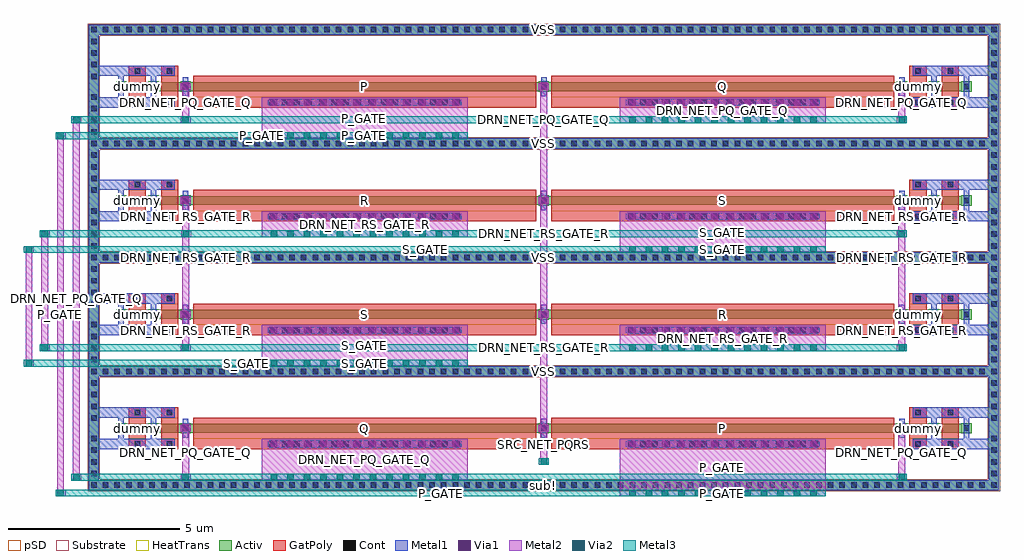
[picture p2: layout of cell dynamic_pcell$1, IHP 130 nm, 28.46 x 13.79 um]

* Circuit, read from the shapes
.subckt dynamic_pcell$1 DRN_NET_PQ_GATE_Q DRN_NET_RS_GATE_R P_GATE SRC_NET_PQRS S_GATE VSS
XM1 VSS VSS VSS VSS sg13_lv_nmos w=0.26u l=0.5u m=8
XM2 DRN_NET_PQ_GATE_Q VSS VSS VSS sg13_lv_nmos w=0.26u l=0.5u m=4
XM3 DRN_NET_RS_GATE_R VSS VSS VSS sg13_lv_nmos w=0.26u l=0.5u m=4
XM4 SRC_NET_PQRS DRN_NET_PQ_GATE_Q DRN_NET_PQ_GATE_Q VSS sg13_lv_nmos w=0.26u l=10u m=2
XM5 SRC_NET_PQRS S_GATE DRN_NET_RS_GATE_R VSS sg13_lv_nmos w=0.26u l=10u m=2
XM6 SRC_NET_PQRS DRN_NET_RS_GATE_R DRN_NET_RS_GATE_R VSS sg13_lv_nmos w=0.26u l=10u m=2
XM7 SRC_NET_PQRS P_GATE DRN_NET_PQ_GATE_Q VSS sg13_lv_nmos w=0.26u l=10u m=2
.ends

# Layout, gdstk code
import gdstk
lib = gdstk.Library(unit=1e-6, precision=1e-09)
def R(c, l, rs):  # rectangles x0, y0, x1, y1
    for r in rs: c.add(gdstk.rectangle(r[:2], r[2:], *l))
def A(c, l, x, y, w, h, nx, ny, dx, dy):  # array of equal rectangles
    R(c, l, [(x+i*dx, y+j*dy, x+i*dx+w, y+j*dy+h) for i in range(nx) for j in range(ny)])
def P(c, l, *ps):  # polygons
    for p in ps: c.add(gdstk.Polygon(p, *l))
Activ = (1, 0)
GatPoly = (5, 0)
Cont = (6, 0)
Metal1 = (8, 0)
Metal2 = (10, 0)
pSD = (14, 0)
Via1 = (19, 0)
Via2 = (29, 0)
Metal3 = (30, 0)
Substrate = (40, 0)
HeatTrans = (51, 0)

dynamic_pcell_1 = lib.new_cell('dynamic_pcell$1')
A(dynamic_pcell_1, Activ, -0.8, -16.32, 26.54, 0.3, 1, 4, 0, 3.32)
A(dynamic_pcell_1, Activ, -0.8, -16.02, 0.3, 3.02, 1, 4, 0, 3.32)
A(dynamic_pcell_1, Activ, 25.44, -16.02, 0.3, 3.02, 1, 4, 0, 3.32)
A(dynamic_pcell_1, Activ, 0, -14.66, 0.3, 0.3, 3, 4, 0.94, 3.32)
A(dynamic_pcell_1, Activ, 1.88, -14.66, 0.3, 0.3, 1, 4, 0, 3.32)
A(dynamic_pcell_1, Activ, 22.76, -14.66, 0.3, 0.3, 1, 4, 0, 3.32)
A(dynamic_pcell_1, Activ, 22.76, -14.66, 0.3, 0.3, 3, 4, 0.94, 3.32)
A(dynamic_pcell_1, Activ, 0, -14.64, 2.18, 0.26, 1, 4, 0, 3.32)
A(dynamic_pcell_1, Activ, 1.88, -14.64, 10.74, 0.26, 1, 4, 0, 3.32)
A(dynamic_pcell_1, Activ, 12.32, -14.64, 10.74, 0.26, 1, 4, 0, 3.32)
A(dynamic_pcell_1, Activ, 22.76, -14.64, 2.18, 0.26, 1, 4, 0, 3.32)
R(dynamic_pcell_1, Activ, [(12.32,-14.66,12.62,-14.36), (12.32,-14.66,12.62,-14.36), (12.32,-11.34,12.62,-11.04), (12.32,-11.34,12.62,-11.04), (12.32,-8.02,12.62,-7.72), (12.32,-8.02,12.62,-7.72), (12.32,-4.7,12.62,-4.4), (12.32,-4.7,12.62,-4.4)])
P(dynamic_pcell_1, Activ, [(-0.8,-6.36),(-0.8,-3.04),(-0.5,-3.04),(-0.5,-6.06),(25.44,-6.06),(25.44,-3.04),(-0.8,-3.04),(-0.8,-2.74),(25.74,-2.74),(25.74,-6.36)],
  [(-0.8,-9.68),(-0.8,-6.36),(-0.5,-6.36),(-0.5,-9.38),(25.44,-9.38),(25.44,-6.36),(-0.8,-6.36),(-0.8,-6.06),(25.74,-6.06),(25.74,-9.68)],
  [(-0.8,-13),(-0.8,-9.68),(-0.5,-9.68),(-0.5,-12.7),(25.44,-12.7),(25.44,-9.68),(-0.8,-9.68),(-0.8,-9.38),(25.74,-9.38),(25.74,-13)],
  [(-0.8,-16.32),(-0.8,-13),(-0.5,-13),(-0.5,-16.02),(25.44,-16.02),(25.44,-13),(-0.8,-13),(-0.8,-12.7),(25.74,-12.7),(25.74,-16.32)])
A(dynamic_pcell_1, GatPoly, 2.25, -15.12, 10, 0.3, 1, 4, 0, 3.32)
A(dynamic_pcell_1, GatPoly, 4.25, -15.12, 6, 0.3, 1, 4, 0, 3.32)
A(dynamic_pcell_1, GatPoly, 12.69, -15.12, 10, 0.3, 1, 4, 0, 3.32)
A(dynamic_pcell_1, GatPoly, 14.69, -15.12, 6, 0.3, 1, 4, 0, 3.32)
A(dynamic_pcell_1, GatPoly, 0.37, -14.82, 0.5, 0.62, 1, 4, 0, 3.32)
A(dynamic_pcell_1, GatPoly, 1.31, -14.82, 0.5, 0.62, 1, 4, 0, 3.32)
A(dynamic_pcell_1, GatPoly, 2.25, -14.82, 10, 0.62, 1, 4, 0, 3.32)
A(dynamic_pcell_1, GatPoly, 12.69, -14.82, 10, 0.62, 1, 4, 0, 3.32)
A(dynamic_pcell_1, GatPoly, 23.13, -14.82, 0.5, 0.62, 1, 4, 0, 3.32)
A(dynamic_pcell_1, GatPoly, 24.07, -14.82, 0.5, 0.62, 1, 4, 0, 3.32)
R(dynamic_pcell_1, GatPoly, [(0.37,-15.12,0.87,-14.82), (0.47,-15.12,0.77,-14.82), (1.31,-15.12,1.81,-14.82), (1.41,-15.12,1.71,-14.82), (23.13,-15.12,23.63,-14.82), (23.23,-15.12,23.53,-14.82), (24.07,-15.12,24.57,-14.82), (24.17,-15.12,24.47,-14.82), (0.37,-14.2,0.87,-13.9), (0.47,-14.2,0.77,-13.9), (1.31,-14.2,1.81,-13.9), (1.41,-14.2,1.71,-13.9), (23.13,-14.2,23.63,-13.9), (23.23,-14.2,23.53,-13.9), (24.07,-14.2,24.57,-13.9), (24.17,-14.2,24.47,-13.9), (0.37,-11.8,0.87,-11.5), (0.47,-11.8,0.77,-11.5), (1.31,-11.8,1.81,-11.5), (1.41,-11.8,1.71,-11.5), (23.13,-11.8,23.63,-11.5), (23.23,-11.8,23.53,-11.5), (24.07,-11.8,24.57,-11.5), (24.17,-11.8,24.47,-11.5), (0.37,-10.88,0.87,-10.58), (0.47,-10.88,0.77,-10.58), (1.31,-10.88,1.81,-10.58), (1.41,-10.88,1.71,-10.58), (23.13,-10.88,23.63,-10.58), (23.23,-10.88,23.53,-10.58), (24.07,-10.88,24.57,-10.58), (24.17,-10.88,24.47,-10.58), (0.37,-8.48,0.87,-8.18), (0.47,-8.48,0.77,-8.18), (1.31,-8.48,1.81,-8.18), (1.41,-8.48,1.71,-8.18), (23.13,-8.48,23.63,-8.18), (23.23,-8.48,23.53,-8.18), (24.07,-8.48,24.57,-8.18), (24.17,-8.48,24.47,-8.18), (0.37,-7.56,0.87,-7.26), (0.47,-7.56,0.77,-7.26), (1.31,-7.56,1.81,-7.26), (1.41,-7.56,1.71,-7.26), (23.13,-7.56,23.63,-7.26), (23.23,-7.56,23.53,-7.26), (24.07,-7.56,24.57,-7.26), (24.17,-7.56,24.47,-7.26), (0.37,-5.16,0.87,-4.86), (0.47,-5.16,0.77,-4.86), (1.31,-5.16,1.81,-4.86), (1.41,-5.16,1.71,-4.86), (23.13,-5.16,23.63,-4.86), (23.23,-5.16,23.53,-4.86), (24.07,-5.16,24.57,-4.86), (24.17,-5.16,24.47,-4.86), (0.37,-4.24,0.87,-3.94), (0.47,-4.24,0.77,-3.94), (1.31,-4.24,1.81,-3.94), (1.41,-4.24,1.71,-3.94), (23.13,-4.24,23.63,-3.94), (23.23,-4.24,23.53,-3.94), (24.07,-4.24,24.57,-3.94), (24.17,-4.24,24.47,-3.94)])
A(dynamic_pcell_1, Cont, -0.73, -16.25, 0.16, 0.16, 39, 2, 0.34, 13.28)
A(dynamic_pcell_1, Cont, 12.59, -16.25, 0.16, 0.16, 39, 2, 0.34, 13.28)
A(dynamic_pcell_1, Cont, -0.73, -15.91, 0.16, 0.16, 1, 4, 0, 0.34)
A(dynamic_pcell_1, Cont, 25.51, -15.91, 0.16, 0.16, 1, 4, 0, 0.34)
A(dynamic_pcell_1, Cont, 4.47, -15.05, 0.16, 0.16, 16, 4, 0.36, 3.32)
A(dynamic_pcell_1, Cont, 14.91, -15.05, 0.16, 0.16, 16, 4, 0.36, 3.32)
A(dynamic_pcell_1, Cont, 0.07, -14.59, 0.16, 0.16, 3, 4, 0.94, 3.32)
A(dynamic_pcell_1, Cont, 1.95, -14.59, 0.16, 0.16, 1, 4, 0, 3.32)
A(dynamic_pcell_1, Cont, 22.83, -14.59, 0.16, 0.16, 1, 4, 0, 3.32)
A(dynamic_pcell_1, Cont, 22.83, -14.59, 0.16, 0.16, 3, 4, 0.94, 3.32)
A(dynamic_pcell_1, Cont, -0.73, -14.29, 0.16, 0.16, 1, 5, 0, 0.34)
A(dynamic_pcell_1, Cont, 25.51, -14.29, 0.16, 0.16, 1, 5, 0, 0.34)
A(dynamic_pcell_1, Cont, -0.73, -12.93, 0.16, 0.16, 1, 5, 0, 0.34)
A(dynamic_pcell_1, Cont, 25.51, -12.93, 0.16, 0.16, 1, 5, 0, 0.34)
A(dynamic_pcell_1, Cont, -0.73, -10.97, 0.16, 0.16, 1, 5, 0, 0.34)
A(dynamic_pcell_1, Cont, 25.51, -10.97, 0.16, 0.16, 1, 5, 0, 0.34)
A(dynamic_pcell_1, Cont, -0.73, -9.61, 0.16, 0.16, 1, 5, 0, 0.34)
A(dynamic_pcell_1, Cont, 25.51, -9.61, 0.16, 0.16, 1, 5, 0, 0.34)
A(dynamic_pcell_1, Cont, -0.73, -7.65, 0.16, 0.16, 1, 5, 0, 0.34)
A(dynamic_pcell_1, Cont, 25.51, -7.65, 0.16, 0.16, 1, 5, 0, 0.34)
A(dynamic_pcell_1, Cont, -0.73, -6.29, 0.16, 0.16, 1, 5, 0, 0.34)
A(dynamic_pcell_1, Cont, 25.51, -6.29, 0.16, 0.16, 1, 5, 0, 0.34)
A(dynamic_pcell_1, Cont, -0.73, -4.33, 0.16, 0.16, 1, 4, 0, 0.34)
A(dynamic_pcell_1, Cont, 25.51, -4.33, 0.16, 0.16, 1, 4, 0, 0.34)
R(dynamic_pcell_1, Cont, [(0.54,-15.05,0.7,-14.89), (1.48,-15.05,1.64,-14.89), (23.3,-15.05,23.46,-14.89), (24.24,-15.05,24.4,-14.89), (12.39,-14.59,12.55,-14.43), (12.39,-14.59,12.55,-14.43), (0.54,-14.13,0.7,-13.97), (1.48,-14.13,1.64,-13.97), (23.3,-14.13,23.46,-13.97), (24.24,-14.13,24.4,-13.97), (-0.39,-12.93,-0.23,-12.77), (-0.39,-12.93,-0.23,-12.77), (-0.05,-12.93,0.11,-12.77), (-0.05,-12.93,0.11,-12.77), (0.29,-12.93,0.45,-12.77), (0.29,-12.93,0.45,-12.77), (0.63,-12.93,0.79,-12.77), (0.63,-12.93,0.79,-12.77), (0.97,-12.93,1.13,-12.77), (0.97,-12.93,1.13,-12.77), (1.31,-12.93,1.47,-12.77), (1.31,-12.93,1.47,-12.77), (1.65,-12.93,1.81,-12.77), (1.65,-12.93,1.81,-12.77), (1.99,-12.93,2.15,-12.77), (1.99,-12.93,2.15,-12.77), (2.33,-12.93,2.49,-12.77), (2.33,-12.93,2.49,-12.77), (2.67,-12.93,2.83,-12.77), (2.67,-12.93,2.83,-12.77), (3.01,-12.93,3.17,-12.77), (3.01,-12.93,3.17,-12.77), (3.35,-12.93,3.51,-12.77), (3.35,-12.93,3.51,-12.77), (3.69,-12.93,3.85,-12.77), (3.69,-12.93,3.85,-12.77), (4.03,-12.93,4.19,-12.77), (4.03,-12.93,4.19,-12.77), (4.37,-12.93,4.53,-12.77), (4.37,-12.93,4.53,-12.77), (4.71,-12.93,4.87,-12.77), (4.71,-12.93,4.87,-12.77), (5.05,-12.93,5.21,-12.77), (5.05,-12.93,5.21,-12.77), (5.39,-12.93,5.55,-12.77), (5.39,-12.93,5.55,-12.77), (5.73,-12.93,5.89,-12.77), (5.73,-12.93,5.89,-12.77), (6.07,-12.93,6.23,-12.77), (6.07,-12.93,6.23,-12.77), (6.41,-12.93,6.57,-12.77), (6.41,-12.93,6.57,-12.77), (6.75,-12.93,6.91,-12.77), (6.75,-12.93,6.91,-12.77), (7.09,-12.93,7.25,-12.77), (7.09,-12.93,7.25,-12.77), (7.43,-12.93,7.59,-12.77), (7.43,-12.93,7.59,-12.77), (7.77,-12.93,7.93,-12.77), (7.77,-12.93,7.93,-12.77), (8.11,-12.93,8.27,-12.77), (8.11,-12.93,8.27,-12.77), (8.45,-12.93,8.61,-12.77), (8.45,-12.93,8.61,-12.77), (8.79,-12.93,8.95,-12.77), (8.79,-12.93,8.95,-12.77), (9.13,-12.93,9.29,-12.77), (9.13,-12.93,9.29,-12.77), (9.47,-12.93,9.63,-12.77), (9.47,-12.93,9.63,-12.77), (9.81,-12.93,9.97,-12.77), (9.81,-12.93,9.97,-12.77), (10.15,-12.93,10.31,-12.77), (10.15,-12.93,10.31,-12.77), (10.49,-12.93,10.65,-12.77), (10.49,-12.93,10.65,-12.77), (10.83,-12.93,10.99,-12.77), (10.83,-12.93,10.99,-12.77), (11.17,-12.93,11.33,-12.77), (11.17,-12.93,11.33,-12.77), (11.51,-12.93,11.67,-12.77), (11.51,-12.93,11.67,-12.77), (11.85,-12.93,12.01,-12.77), (11.85,-12.93,12.01,-12.77), (12.19,-12.93,12.35,-12.77), (12.19,-12.93,12.35,-12.77), (12.59,-12.93,12.75,-12.77), (12.59,-12.93,12.75,-12.77), (12.93,-12.93,13.09,-12.77), (12.93,-12.93,13.09,-12.77), (13.27,-12.93,13.43,-12.77), (13.27,-12.93,13.43,-12.77), (13.61,-12.93,13.77,-12.77), (13.61,-12.93,13.77,-12.77), (13.95,-12.93,14.11,-12.77), (13.95,-12.93,14.11,-12.77), (14.29,-12.93,14.45,-12.77), (14.29,-12.93,14.45,-12.77), (14.63,-12.93,14.79,-12.77), (14.63,-12.93,14.79,-12.77), (14.97,-12.93,15.13,-12.77), (14.97,-12.93,15.13,-12.77), (15.31,-12.93,15.47,-12.77), (15.31,-12.93,15.47,-12.77), (15.65,-12.93,15.81,-12.77), (15.65,-12.93,15.81,-12.77), (15.99,-12.93,16.15,-12.77), (15.99,-12.93,16.15,-12.77), (16.33,-12.93,16.49,-12.77), (16.33,-12.93,16.49,-12.77), (16.67,-12.93,16.83,-12.77), (16.67,-12.93,16.83,-12.77), (17.01,-12.93,17.17,-12.77), (17.01,-12.93,17.17,-12.77), (17.35,-12.93,17.51,-12.77), (17.35,-12.93,17.51,-12.77), (17.69,-12.93,17.85,-12.77), (17.69,-12.93,17.85,-12.77), (18.03,-12.93,18.19,-12.77), (18.03,-12.93,18.19,-12.77), (18.37,-12.93,18.53,-12.77), (18.37,-12.93,18.53,-12.77), (18.71,-12.93,18.87,-12.77), (18.71,-12.93,18.87,-12.77), (19.05,-12.93,19.21,-12.77), (19.05,-12.93,19.21,-12.77), (19.39,-12.93,19.55,-12.77), (19.39,-12.93,19.55,-12.77), (19.73,-12.93,19.89,-12.77), (19.73,-12.93,19.89,-12.77), (20.07,-12.93,20.23,-12.77), (20.07,-12.93,20.23,-12.77), (20.41,-12.93,20.57,-12.77), (20.41,-12.93,20.57,-12.77), (20.75,-12.93,20.91,-12.77), (20.75,-12.93,20.91,-12.77), (21.09,-12.93,21.25,-12.77), (21.09,-12.93,21.25,-12.77), (21.43,-12.93,21.59,-12.77), (21.43,-12.93,21.59,-12.77), (21.77,-12.93,21.93,-12.77), (21.77,-12.93,21.93,-12.77), (22.11,-12.93,22.27,-12.77), (22.11,-12.93,22.27,-12.77), (22.45,-12.93,22.61,-12.77), (22.45,-12.93,22.61,-12.77), (22.79,-12.93,22.95,-12.77), (22.79,-12.93,22.95,-12.77), (23.13,-12.93,23.29,-12.77), (23.13,-12.93,23.29,-12.77), (23.47,-12.93,23.63,-12.77), (23.47,-12.93,23.63,-12.77), (23.81,-12.93,23.97,-12.77), (23.81,-12.93,23.97,-12.77), (24.15,-12.93,24.31,-12.77), (24.15,-12.93,24.31,-12.77), (24.49,-12.93,24.65,-12.77), (24.49,-12.93,24.65,-12.77), (24.83,-12.93,24.99,-12.77), (24.83,-12.93,24.99,-12.77), (25.17,-12.93,25.33,-12.77), (25.17,-12.93,25.33,-12.77), (0.54,-11.73,0.7,-11.57), (1.48,-11.73,1.64,-11.57), (23.3,-11.73,23.46,-11.57), (24.24,-11.73,24.4,-11.57), (12.39,-11.27,12.55,-11.11), (12.39,-11.27,12.55,-11.11), (0.54,-10.81,0.7,-10.65), (1.48,-10.81,1.64,-10.65), (23.3,-10.81,23.46,-10.65), (24.24,-10.81,24.4,-10.65), (-0.39,-9.61,-0.23,-9.45), (-0.39,-9.61,-0.23,-9.45), (-0.05,-9.61,0.11,-9.45), (-0.05,-9.61,0.11,-9.45), (0.29,-9.61,0.45,-9.45), (0.29,-9.61,0.45,-9.45), (0.63,-9.61,0.79,-9.45), (0.63,-9.61,0.79,-9.45), (0.97,-9.61,1.13,-9.45), (0.97,-9.61,1.13,-9.45), (1.31,-9.61,1.47,-9.45), (1.31,-9.61,1.47,-9.45), (1.65,-9.61,1.81,-9.45), (1.65,-9.61,1.81,-9.45), (1.99,-9.61,2.15,-9.45), (1.99,-9.61,2.15,-9.45), (2.33,-9.61,2.49,-9.45), (2.33,-9.61,2.49,-9.45), (2.67,-9.61,2.83,-9.45), (2.67,-9.61,2.83,-9.45), (3.01,-9.61,3.17,-9.45), (3.01,-9.61,3.17,-9.45), (3.35,-9.61,3.51,-9.45), (3.35,-9.61,3.51,-9.45), (3.69,-9.61,3.85,-9.45), (3.69,-9.61,3.85,-9.45), (4.03,-9.61,4.19,-9.45), (4.03,-9.61,4.19,-9.45), (4.37,-9.61,4.53,-9.45), (4.37,-9.61,4.53,-9.45), (4.71,-9.61,4.87,-9.45), (4.71,-9.61,4.87,-9.45), (5.05,-9.61,5.21,-9.45), (5.05,-9.61,5.21,-9.45), (5.39,-9.61,5.55,-9.45), (5.39,-9.61,5.55,-9.45), (5.73,-9.61,5.89,-9.45), (5.73,-9.61,5.89,-9.45), (6.07,-9.61,6.23,-9.45), (6.07,-9.61,6.23,-9.45), (6.41,-9.61,6.57,-9.45), (6.41,-9.61,6.57,-9.45), (6.75,-9.61,6.91,-9.45), (6.75,-9.61,6.91,-9.45), (7.09,-9.61,7.25,-9.45), (7.09,-9.61,7.25,-9.45), (7.43,-9.61,7.59,-9.45), (7.43,-9.61,7.59,-9.45), (7.77,-9.61,7.93,-9.45), (7.77,-9.61,7.93,-9.45), (8.11,-9.61,8.27,-9.45), (8.11,-9.61,8.27,-9.45), (8.45,-9.61,8.61,-9.45), (8.45,-9.61,8.61,-9.45), (8.79,-9.61,8.95,-9.45), (8.79,-9.61,8.95,-9.45), (9.13,-9.61,9.29,-9.45), (9.13,-9.61,9.29,-9.45), (9.47,-9.61,9.63,-9.45), (9.47,-9.61,9.63,-9.45), (9.81,-9.61,9.97,-9.45), (9.81,-9.61,9.97,-9.45), (10.15,-9.61,10.31,-9.45), (10.15,-9.61,10.31,-9.45), (10.49,-9.61,10.65,-9.45), (10.49,-9.61,10.65,-9.45), (10.83,-9.61,10.99,-9.45), (10.83,-9.61,10.99,-9.45), (11.17,-9.61,11.33,-9.45), (11.17,-9.61,11.33,-9.45), (11.51,-9.61,11.67,-9.45), (11.51,-9.61,11.67,-9.45), (11.85,-9.61,12.01,-9.45), (11.85,-9.61,12.01,-9.45), (12.19,-9.61,12.35,-9.45), (12.19,-9.61,12.35,-9.45), (12.59,-9.61,12.75,-9.45), (12.59,-9.61,12.75,-9.45), (12.93,-9.61,13.09,-9.45), (12.93,-9.61,13.09,-9.45), (13.27,-9.61,13.43,-9.45), (13.27,-9.61,13.43,-9.45), (13.61,-9.61,13.77,-9.45), (13.61,-9.61,13.77,-9.45), (13.95,-9.61,14.11,-9.45), (13.95,-9.61,14.11,-9.45), (14.29,-9.61,14.45,-9.45), (14.29,-9.61,14.45,-9.45), (14.63,-9.61,14.79,-9.45), (14.63,-9.61,14.79,-9.45), (14.97,-9.61,15.13,-9.45), (14.97,-9.61,15.13,-9.45), (15.31,-9.61,15.47,-9.45), (15.31,-9.61,15.47,-9.45), (15.65,-9.61,15.81,-9.45), (15.65,-9.61,15.81,-9.45), (15.99,-9.61,16.15,-9.45), (15.99,-9.61,16.15,-9.45), (16.33,-9.61,16.49,-9.45), (16.33,-9.61,16.49,-9.45), (16.67,-9.61,16.83,-9.45), (16.67,-9.61,16.83,-9.45), (17.01,-9.61,17.17,-9.45), (17.01,-9.61,17.17,-9.45), (17.35,-9.61,17.51,-9.45), (17.35,-9.61,17.51,-9.45), (17.69,-9.61,17.85,-9.45), (17.69,-9.61,17.85,-9.45), (18.03,-9.61,18.19,-9.45), (18.03,-9.61,18.19,-9.45), (18.37,-9.61,18.53,-9.45), (18.37,-9.61,18.53,-9.45), (18.71,-9.61,18.87,-9.45), (18.71,-9.61,18.87,-9.45), (19.05,-9.61,19.21,-9.45), (19.05,-9.61,19.21,-9.45), (19.39,-9.61,19.55,-9.45), (19.39,-9.61,19.55,-9.45), (19.73,-9.61,19.89,-9.45), (19.73,-9.61,19.89,-9.45), (20.07,-9.61,20.23,-9.45), (20.07,-9.61,20.23,-9.45), (20.41,-9.61,20.57,-9.45), (20.41,-9.61,20.57,-9.45), (20.75,-9.61,20.91,-9.45), (20.75,-9.61,20.91,-9.45), (21.09,-9.61,21.25,-9.45), (21.09,-9.61,21.25,-9.45), (21.43,-9.61,21.59,-9.45), (21.43,-9.61,21.59,-9.45), (21.77,-9.61,21.93,-9.45), (21.77,-9.61,21.93,-9.45), (22.11,-9.61,22.27,-9.45), (22.11,-9.61,22.27,-9.45), (22.45,-9.61,22.61,-9.45), (22.45,-9.61,22.61,-9.45), (22.79,-9.61,22.95,-9.45), (22.79,-9.61,22.95,-9.45), (23.13,-9.61,23.29,-9.45), (23.13,-9.61,23.29,-9.45), (23.47,-9.61,23.63,-9.45), (23.47,-9.61,23.63,-9.45), (23.81,-9.61,23.97,-9.45), (23.81,-9.61,23.97,-9.45), (24.15,-9.61,24.31,-9.45), (24.15,-9.61,24.31,-9.45), (24.49,-9.61,24.65,-9.45), (24.49,-9.61,24.65,-9.45), (24.83,-9.61,24.99,-9.45), (24.83,-9.61,24.99,-9.45), (25.17,-9.61,25.33,-9.45), (25.17,-9.61,25.33,-9.45), (0.54,-8.41,0.7,-8.25), (1.48,-8.41,1.64,-8.25), (23.3,-8.41,23.46,-8.25), (24.24,-8.41,24.4,-8.25), (12.39,-7.95,12.55,-7.79), (12.39,-7.95,12.55,-7.79), (0.54,-7.49,0.7,-7.33), (1.48,-7.49,1.64,-7.33), (23.3,-7.49,23.46,-7.33), (24.24,-7.49,24.4,-7.33), (-0.39,-6.29,-0.23,-6.13), (-0.39,-6.29,-0.23,-6.13), (-0.05,-6.29,0.11,-6.13), (-0.05,-6.29,0.11,-6.13), (0.29,-6.29,0.45,-6.13), (0.29,-6.29,0.45,-6.13), (0.63,-6.29,0.79,-6.13), (0.63,-6.29,0.79,-6.13), (0.97,-6.29,1.13,-6.13), (0.97,-6.29,1.13,-6.13), (1.31,-6.29,1.47,-6.13), (1.31,-6.29,1.47,-6.13), (1.65,-6.29,1.81,-6.13), (1.65,-6.29,1.81,-6.13), (1.99,-6.29,2.15,-6.13), (1.99,-6.29,2.15,-6.13), (2.33,-6.29,2.49,-6.13), (2.33,-6.29,2.49,-6.13), (2.67,-6.29,2.83,-6.13), (2.67,-6.29,2.83,-6.13), (3.01,-6.29,3.17,-6.13), (3.01,-6.29,3.17,-6.13), (3.35,-6.29,3.51,-6.13), (3.35,-6.29,3.51,-6.13), (3.69,-6.29,3.85,-6.13), (3.69,-6.29,3.85,-6.13), (4.03,-6.29,4.19,-6.13), (4.03,-6.29,4.19,-6.13), (4.37,-6.29,4.53,-6.13), (4.37,-6.29,4.53,-6.13), (4.71,-6.29,4.87,-6.13), (4.71,-6.29,4.87,-6.13), (5.05,-6.29,5.21,-6.13), (5.05,-6.29,5.21,-6.13), (5.39,-6.29,5.55,-6.13), (5.39,-6.29,5.55,-6.13), (5.73,-6.29,5.89,-6.13), (5.73,-6.29,5.89,-6.13), (6.07,-6.29,6.23,-6.13), (6.07,-6.29,6.23,-6.13), (6.41,-6.29,6.57,-6.13), (6.41,-6.29,6.57,-6.13), (6.75,-6.29,6.91,-6.13), (6.75,-6.29,6.91,-6.13), (7.09,-6.29,7.25,-6.13), (7.09,-6.29,7.25,-6.13), (7.43,-6.29,7.59,-6.13), (7.43,-6.29,7.59,-6.13), (7.77,-6.29,7.93,-6.13), (7.77,-6.29,7.93,-6.13), (8.11,-6.29,8.27,-6.13), (8.11,-6.29,8.27,-6.13), (8.45,-6.29,8.61,-6.13), (8.45,-6.29,8.61,-6.13), (8.79,-6.29,8.95,-6.13), (8.79,-6.29,8.95,-6.13), (9.13,-6.29,9.29,-6.13), (9.13,-6.29,9.29,-6.13), (9.47,-6.29,9.63,-6.13), (9.47,-6.29,9.63,-6.13), (9.81,-6.29,9.97,-6.13), (9.81,-6.29,9.97,-6.13), (10.15,-6.29,10.31,-6.13), (10.15,-6.29,10.31,-6.13), (10.49,-6.29,10.65,-6.13), (10.49,-6.29,10.65,-6.13), (10.83,-6.29,10.99,-6.13), (10.83,-6.29,10.99,-6.13), (11.17,-6.29,11.33,-6.13), (11.17,-6.29,11.33,-6.13), (11.51,-6.29,11.67,-6.13), (11.51,-6.29,11.67,-6.13), (11.85,-6.29,12.01,-6.13), (11.85,-6.29,12.01,-6.13), (12.19,-6.29,12.35,-6.13), (12.19,-6.29,12.35,-6.13), (12.59,-6.29,12.75,-6.13), (12.59,-6.29,12.75,-6.13), (12.93,-6.29,13.09,-6.13), (12.93,-6.29,13.09,-6.13), (13.27,-6.29,13.43,-6.13), (13.27,-6.29,13.43,-6.13), (13.61,-6.29,13.77,-6.13), (13.61,-6.29,13.77,-6.13), (13.95,-6.29,14.11,-6.13), (13.95,-6.29,14.11,-6.13), (14.29,-6.29,14.45,-6.13), (14.29,-6.29,14.45,-6.13), (14.63,-6.29,14.79,-6.13), (14.63,-6.29,14.79,-6.13), (14.97,-6.29,15.13,-6.13), (14.97,-6.29,15.13,-6.13), (15.31,-6.29,15.47,-6.13), (15.31,-6.29,15.47,-6.13), (15.65,-6.29,15.81,-6.13), (15.65,-6.29,15.81,-6.13), (15.99,-6.29,16.15,-6.13), (15.99,-6.29,16.15,-6.13), (16.33,-6.29,16.49,-6.13), (16.33,-6.29,16.49,-6.13), (16.67,-6.29,16.83,-6.13), (16.67,-6.29,16.83,-6.13), (17.01,-6.29,17.17,-6.13), (17.01,-6.29,17.17,-6.13), (17.35,-6.29,17.51,-6.13), (17.35,-6.29,17.51,-6.13), (17.69,-6.29,17.85,-6.13), (17.69,-6.29,17.85,-6.13), (18.03,-6.29,18.19,-6.13), (18.03,-6.29,18.19,-6.13), (18.37,-6.29,18.53,-6.13), (18.37,-6.29,18.53,-6.13), (18.71,-6.29,18.87,-6.13), (18.71,-6.29,18.87,-6.13), (19.05,-6.29,19.21,-6.13), (19.05,-6.29,19.21,-6.13), (19.39,-6.29,19.55,-6.13), (19.39,-6.29,19.55,-6.13), (19.73,-6.29,19.89,-6.13), (19.73,-6.29,19.89,-6.13), (20.07,-6.29,20.23,-6.13), (20.07,-6.29,20.23,-6.13), (20.41,-6.29,20.57,-6.13), (20.41,-6.29,20.57,-6.13), (20.75,-6.29,20.91,-6.13), (20.75,-6.29,20.91,-6.13), (21.09,-6.29,21.25,-6.13), (21.09,-6.29,21.25,-6.13), (21.43,-6.29,21.59,-6.13), (21.43,-6.29,21.59,-6.13), (21.77,-6.29,21.93,-6.13), (21.77,-6.29,21.93,-6.13), (22.11,-6.29,22.27,-6.13), (22.11,-6.29,22.27,-6.13), (22.45,-6.29,22.61,-6.13), (22.45,-6.29,22.61,-6.13), (22.79,-6.29,22.95,-6.13), (22.79,-6.29,22.95,-6.13), (23.13,-6.29,23.29,-6.13), (23.13,-6.29,23.29,-6.13), (23.47,-6.29,23.63,-6.13), (23.47,-6.29,23.63,-6.13), (23.81,-6.29,23.97,-6.13), (23.81,-6.29,23.97,-6.13), (24.15,-6.29,24.31,-6.13), (24.15,-6.29,24.31,-6.13), (24.49,-6.29,24.65,-6.13), (24.49,-6.29,24.65,-6.13), (24.83,-6.29,24.99,-6.13), (24.83,-6.29,24.99,-6.13), (25.17,-6.29,25.33,-6.13), (25.17,-6.29,25.33,-6.13), (0.54,-5.09,0.7,-4.93), (1.48,-5.09,1.64,-4.93), (23.3,-5.09,23.46,-4.93), (24.24,-5.09,24.4,-4.93), (12.39,-4.63,12.55,-4.47), (12.39,-4.63,12.55,-4.47), (0.54,-4.17,0.7,-4.01), (1.48,-4.17,1.64,-4.01), (23.3,-4.17,23.46,-4.01), (24.24,-4.17,24.4,-4.01)])
A(dynamic_pcell_1, Metal1, -0.8, -16.02, 0.3, 3.02, 1, 4, 0, 3.32)
A(dynamic_pcell_1, Metal1, 25.44, -16.02, 0.3, 3.02, 1, 4, 0, 3.32)
A(dynamic_pcell_1, Metal1, 0.07, -15.12, 0.16, 1.22, 1, 4, 0, 3.32)
A(dynamic_pcell_1, Metal1, 1.01, -15.12, 0.16, 1.22, 1, 4, 0, 3.32)
A(dynamic_pcell_1, Metal1, 23.77, -15.12, 0.16, 1.22, 1, 4, 0, 3.32)
A(dynamic_pcell_1, Metal1, 24.71, -15.12, 0.16, 1.22, 1, 4, 0, 3.32)
A(dynamic_pcell_1, Metal1, 4.465, -15.075, 5.57, 0.21, 1, 4, 0, 3.32)
A(dynamic_pcell_1, Metal1, 14.905, -15.075, 5.57, 0.21, 1, 4, 0, 3.32)
A(dynamic_pcell_1, Metal1, 4.42, -15.05, 5.66, 0.16, 1, 4, 0, 3.32)
A(dynamic_pcell_1, Metal1, 14.86, -15.05, 5.66, 0.16, 1, 4, 0, 3.32)
A(dynamic_pcell_1, Metal1, 1.95, -14.79, 0.16, 0.56, 1, 4, 0, 3.32)
A(dynamic_pcell_1, Metal1, 22.83, -14.79, 0.16, 0.56, 1, 4, 0, 3.32)
A(dynamic_pcell_1, Metal1, 0.07, -14.64, 0.16, 0.26, 3, 4, 0.94, 3.32)
A(dynamic_pcell_1, Metal1, 1.95, -14.64, 0.16, 0.26, 1, 4, 0, 3.32)
A(dynamic_pcell_1, Metal1, 22.83, -14.64, 0.16, 0.26, 1, 4, 0, 3.32)
A(dynamic_pcell_1, Metal1, 22.83, -14.64, 0.16, 0.26, 3, 4, 0.94, 3.32)
R(dynamic_pcell_1, Metal1, [(-0.8,-16.32,25.74,-16.02), (-0.8,-15.12,1.71,-14.82), (23.23,-15.12,25.74,-14.82), (0.49,-15.05,0.75,-14.89), (1.43,-15.05,1.69,-14.89), (23.25,-15.05,23.51,-14.89), (24.19,-15.05,24.45,-14.89), (12.39,-14.79,12.55,-14.23), (12.39,-14.79,12.55,-14.23), (12.39,-14.64,12.55,-14.38), (12.39,-14.64,12.55,-14.38), (1.885,-14.615,2.175,-14.405), (12.325,-14.615,12.615,-14.405), (12.325,-14.615,12.615,-14.405), (12.325,-14.615,12.615,-14.405), (12.325,-14.615,12.615,-14.405), (22.765,-14.615,23.055,-14.405), (-0.8,-14.2,1.71,-13.9), (23.23,-14.2,25.74,-13.9), (0.49,-14.13,0.75,-13.97), (1.43,-14.13,1.69,-13.97), (23.25,-14.13,23.51,-13.97), (24.19,-14.13,24.45,-13.97), (-0.8,-13,25.74,-12.7), (-0.8,-13,25.74,-12.7), (-0.8,-11.8,1.71,-11.5), (23.23,-11.8,25.74,-11.5), (0.49,-11.73,0.75,-11.57), (1.43,-11.73,1.69,-11.57), (23.25,-11.73,23.51,-11.57), (24.19,-11.73,24.45,-11.57), (12.39,-11.47,12.55,-10.91), (12.39,-11.47,12.55,-10.91), (12.39,-11.32,12.55,-11.06), (12.39,-11.32,12.55,-11.06), (1.885,-11.295,2.175,-11.085), (1.885,-11.295,2.175,-11.085), (12.325,-11.295,12.615,-11.085), (12.325,-11.295,12.615,-11.085), (12.325,-11.295,12.615,-11.085), (12.325,-11.295,12.615,-11.085), (22.765,-11.295,23.055,-11.085), (22.765,-11.295,23.055,-11.085), (-0.8,-10.88,1.71,-10.58), (23.23,-10.88,25.74,-10.58), (0.49,-10.81,0.75,-10.65), (1.43,-10.81,1.69,-10.65), (23.25,-10.81,23.51,-10.65), (24.19,-10.81,24.45,-10.65), (-0.8,-9.68,25.74,-9.38), (-0.8,-9.68,25.74,-9.38), (-0.8,-8.48,1.71,-8.18), (23.23,-8.48,25.74,-8.18), (0.49,-8.41,0.75,-8.25), (1.43,-8.41,1.69,-8.25), (23.25,-8.41,23.51,-8.25), (24.19,-8.41,24.45,-8.25), (12.39,-8.15,12.55,-7.59), (12.39,-8.15,12.55,-7.59), (12.39,-8,12.55,-7.74), (12.39,-8,12.55,-7.74), (1.885,-7.975,2.175,-7.765), (1.885,-7.975,2.175,-7.765), (12.325,-7.975,12.615,-7.765), (12.325,-7.975,12.615,-7.765), (12.325,-7.975,12.615,-7.765), (12.325,-7.975,12.615,-7.765), (22.765,-7.975,23.055,-7.765), (22.765,-7.975,23.055,-7.765), (-0.8,-7.56,1.71,-7.26), (23.23,-7.56,25.74,-7.26), (0.49,-7.49,0.75,-7.33), (1.43,-7.49,1.69,-7.33), (23.25,-7.49,23.51,-7.33), (24.19,-7.49,24.45,-7.33), (-0.8,-6.36,25.74,-6.06), (-0.8,-6.36,25.74,-6.06), (-0.8,-5.16,1.71,-4.86), (23.23,-5.16,25.74,-4.86), (0.49,-5.09,0.75,-4.93), (1.43,-5.09,1.69,-4.93), (23.25,-5.09,23.51,-4.93), (24.19,-5.09,24.45,-4.93), (12.39,-4.83,12.55,-4.27), (12.39,-4.83,12.55,-4.27), (12.39,-4.68,12.55,-4.42), (12.39,-4.68,12.55,-4.42), (1.885,-4.655,2.175,-4.445), (12.325,-4.655,12.615,-4.445), (12.325,-4.655,12.615,-4.445), (22.765,-4.655,23.055,-4.445), (-0.8,-4.24,1.71,-3.94), (23.23,-4.24,25.74,-3.94), (0.49,-4.17,0.75,-4.01), (1.43,-4.17,1.69,-4.01), (23.25,-4.17,23.51,-4.01), (24.19,-4.17,24.45,-4.01), (-0.8,-3.04,25.74,-2.74)])
A(dynamic_pcell_1, Metal2, 1.93, -12.26, 0.2, 1.2, 1, 3, 0, 3.32)
A(dynamic_pcell_1, Metal2, 22.81, -12.26, 0.2, 1.2, 1, 3, 0, 3.32)
R(dynamic_pcell_1, Metal2, [(-1.765,-16.5,-1.475,-16.3), (-1.72,-16.5,-1.52,-5.88), (14.69,-16.5,20.69,-14.82), (14.905,-16.5,20.475,-16.3), (-1.305,-16.04,-1.015,-15.84), (-1.26,-16.04,-1.06,-5.42), (1.885,-16.04,2.175,-15.84), (1.93,-16.04,2.13,-14.38), (4.25,-16.04,10.25,-14.82), (4.465,-16.04,10.035,-15.84), (22.765,-16.04,23.055,-15.84), (22.81,-16.04,23.01,-14.38), (12.325,-15.58,12.615,-15.38), (12.325,-15.58,12.615,-15.38), (12.37,-15.58,12.57,-14.38), (12.37,-15.58,12.57,-14.38), (4.465,-15.07,10.035,-14.87), (14.905,-15.07,20.475,-14.87), (12.37,-14.64,12.57,-11.06), (12.37,-14.64,12.57,-11.06), (1.885,-14.61,2.175,-14.41), (12.325,-14.61,12.615,-14.41), (12.325,-14.61,12.615,-14.41), (12.325,-14.61,12.615,-14.41), (12.325,-14.61,12.615,-14.41), (22.765,-14.61,23.055,-14.41), (-2.685,-12.72,-2.395,-12.52), (-2.64,-12.72,-2.44,-9.2), (4.25,-12.72,10.25,-11.5), (4.465,-12.72,10.035,-12.52), (-2.225,-12.26,-1.935,-12.06), (-2.18,-12.26,-1.98,-8.74), (1.885,-12.26,2.175,-12.06), (14.69,-12.26,20.69,-11.5), (14.905,-12.26,20.475,-12.06), (22.765,-12.26,23.055,-12.06), (4.465,-11.75,10.035,-11.55), (14.905,-11.75,20.475,-11.55), (1.93,-11.32,2.13,-7.74), (12.37,-11.32,12.57,-7.74), (12.37,-11.32,12.57,-7.74), (22.81,-11.32,23.01,-7.74), (1.885,-11.29,2.175,-11.09), (1.885,-11.29,2.175,-11.09), (12.325,-11.29,12.615,-11.09), (12.325,-11.29,12.615,-11.09), (12.325,-11.29,12.615,-11.09), (12.325,-11.29,12.615,-11.09), (22.765,-11.29,23.055,-11.09), (22.765,-11.29,23.055,-11.09), (-2.685,-9.4,-2.395,-9.2), (14.69,-9.4,20.69,-8.18), (14.905,-9.4,20.475,-9.2), (-2.225,-8.94,-1.935,-8.74), (1.895,-8.94,2.185,-8.74), (4.25,-8.94,10.25,-8.18), (4.465,-8.94,10.035,-8.74), (22.755,-8.94,23.045,-8.74), (4.465,-8.43,10.035,-8.23), (14.905,-8.43,20.475,-8.23), (12.37,-8,12.57,-4.42), (12.37,-8,12.57,-4.42), (1.885,-7.97,2.175,-7.77), (1.885,-7.97,2.175,-7.77), (12.325,-7.97,12.615,-7.77), (12.325,-7.97,12.615,-7.77), (12.325,-7.97,12.615,-7.77), (12.325,-7.97,12.615,-7.77), (22.765,-7.97,23.055,-7.77), (22.765,-7.97,23.055,-7.77), (-1.765,-6.08,-1.475,-5.88), (4.25,-6.08,10.25,-4.86), (4.465,-6.08,10.035,-5.88), (-1.305,-5.62,-1.015,-5.42), (1.885,-5.62,2.175,-5.42), (14.69,-5.62,20.69,-4.86), (14.905,-5.62,20.475,-5.42), (22.765,-5.62,23.055,-5.42), (4.465,-5.11,10.035,-4.91), (14.905,-5.11,20.475,-4.91), (1.885,-4.65,2.175,-4.45), (12.325,-4.65,12.615,-4.45), (12.325,-4.65,12.615,-4.45), (22.765,-4.65,23.055,-4.45)])
A(dynamic_pcell_1, pSD, -0.83, -16.35, 26.6, 0.36, 1, 4, 0, 3.32)
A(dynamic_pcell_1, pSD, -0.83, -15.99, 0.36, 2.96, 1, 4, 0, 3.32)
A(dynamic_pcell_1, pSD, 25.41, -15.99, 0.36, 2.96, 1, 4, 0, 3.32)
P(dynamic_pcell_1, pSD, [(-0.83,-6.39),(-0.83,-3.07),(-0.47,-3.07),(-0.47,-6.03),(25.41,-6.03),(25.41,-3.07),(-0.83,-3.07),(-0.83,-2.71),(25.77,-2.71),(25.77,-6.39)],
  [(-0.83,-9.71),(-0.83,-6.39),(-0.47,-6.39),(-0.47,-9.35),(25.41,-9.35),(25.41,-6.39),(-0.83,-6.39),(-0.83,-6.03),(25.77,-6.03),(25.77,-9.71)],
  [(-0.83,-13.03),(-0.83,-9.71),(-0.47,-9.71),(-0.47,-12.67),(25.41,-12.67),(25.41,-9.71),(-0.83,-9.71),(-0.83,-9.35),(25.77,-9.35),(25.77,-13.03)],
  [(-0.83,-16.35),(-0.83,-13.03),(-0.47,-13.03),(-0.47,-15.99),(25.41,-15.99),(25.41,-13.03),(-0.83,-13.03),(-0.83,-12.67),(25.77,-12.67),(25.77,-16.35)])
A(dynamic_pcell_1, Via1, 4.515, -15.065, 0.19, 0.19, 12, 4, 0.48, 3.32)
A(dynamic_pcell_1, Via1, 14.955, -15.065, 0.19, 0.19, 12, 4, 0.48, 3.32)
R(dynamic_pcell_1, Via1, [(1.935,-14.605,2.125,-14.415), (12.375,-14.605,12.565,-14.415), (12.375,-14.605,12.565,-14.415), (12.375,-14.605,12.565,-14.415), (12.375,-14.605,12.565,-14.415), (22.815,-14.605,23.005,-14.415), (1.935,-11.285,2.125,-11.095), (1.935,-11.285,2.125,-11.095), (12.375,-11.285,12.565,-11.095), (12.375,-11.285,12.565,-11.095), (12.375,-11.285,12.565,-11.095), (12.375,-11.285,12.565,-11.095), (22.815,-11.285,23.005,-11.095), (22.815,-11.285,23.005,-11.095), (1.935,-7.965,2.125,-7.775), (1.935,-7.965,2.125,-7.775), (12.375,-7.965,12.565,-7.775), (12.375,-7.965,12.565,-7.775), (12.375,-7.965,12.565,-7.775), (12.375,-7.965,12.565,-7.775), (22.815,-7.965,23.005,-7.775), (22.815,-7.965,23.005,-7.775), (1.935,-4.645,2.125,-4.455), (12.375,-4.645,12.565,-4.455), (12.375,-4.645,12.565,-4.455), (22.815,-4.645,23.005,-4.455)])
A(dynamic_pcell_1, Via2, 14.955, -16.495, 0.19, 0.19, 12, 2, 0.48, 4.24)
A(dynamic_pcell_1, Via2, 4.515, -16.035, 0.19, 0.19, 12, 2, 0.48, 3.32)
A(dynamic_pcell_1, Via2, 14.955, -9.395, 0.19, 0.19, 12, 2, 0.48, 3.78)
A(dynamic_pcell_1, Via2, 4.515, -8.935, 0.19, 0.19, 12, 2, 0.48, 2.86)
R(dynamic_pcell_1, Via2, [(-1.715,-16.495,-1.525,-16.305), (-1.255,-16.035,-1.065,-15.845), (1.935,-16.035,2.125,-15.845), (22.815,-16.035,23.005,-15.845), (12.375,-15.575,12.565,-15.385), (12.375,-15.575,12.565,-15.385), (-2.635,-12.715,-2.445,-12.525), (-2.175,-12.255,-1.985,-12.065), (1.935,-12.255,2.125,-12.065), (22.815,-12.255,23.005,-12.065), (-2.635,-9.395,-2.445,-9.205), (-2.175,-8.935,-1.985,-8.745), (1.945,-8.935,2.135,-8.745), (22.805,-8.935,22.995,-8.745), (-1.715,-6.075,-1.525,-5.885), (-1.255,-5.615,-1.065,-5.425), (1.935,-5.615,2.125,-5.425), (22.815,-5.615,23.005,-5.425)])
R(dynamic_pcell_1, Metal3, [(-1.765,-16.5,-1.475,-16.3), (-1.72,-16.5,20.69,-16.3), (14.69,-16.5,20.69,-16.3), (14.905,-16.5,20.475,-16.3), (-1.305,-16.04,-1.015,-15.84), (-1.26,-16.04,23.01,-15.84), (1.885,-16.04,2.175,-15.84), (1.93,-16.04,23.01,-15.84), (4.465,-16.04,10.035,-15.84), (22.765,-16.04,23.055,-15.84), (12.325,-15.58,12.615,-15.38), (12.325,-15.58,12.615,-15.38), (-2.685,-12.72,-2.395,-12.52), (-2.64,-12.72,10.25,-12.52), (4.25,-12.72,10.25,-12.52), (4.465,-12.72,10.035,-12.52), (-2.225,-12.26,-1.935,-12.06), (-2.18,-12.26,23.01,-12.06), (1.885,-12.26,2.175,-12.06), (1.93,-12.26,23.01,-12.06), (14.905,-12.26,20.475,-12.06), (22.765,-12.26,23.055,-12.06), (-2.685,-9.4,-2.395,-9.2), (-2.64,-9.4,20.69,-9.2), (14.69,-9.4,20.69,-9.2), (14.905,-9.4,20.475,-9.2), (-2.225,-8.94,-1.935,-8.74), (-2.18,-8.94,22.99,-8.74), (1.895,-8.94,2.185,-8.74), (1.95,-8.94,22.99,-8.74), (4.465,-8.94,10.035,-8.74), (22.755,-8.94,23.045,-8.74), (-1.765,-6.08,-1.475,-5.88), (-1.72,-6.08,10.25,-5.88), (4.25,-6.08,10.25,-5.88), (4.465,-6.08,10.035,-5.88), (-1.305,-5.62,-1.015,-5.42), (-1.26,-5.62,23.01,-5.42), (1.885,-5.62,2.175,-5.42), (1.93,-5.62,23.01,-5.42), (14.905,-5.62,20.475,-5.42), (22.765,-5.62,23.055,-5.42)])
A(dynamic_pcell_1, Substrate, -0.83, -16.35, 26.6, 0.36, 1, 4, 0, 3.32)
A(dynamic_pcell_1, Substrate, -0.83, -15.99, 0.36, 2.96, 1, 4, 0, 3.32)
A(dynamic_pcell_1, Substrate, 25.41, -15.99, 0.36, 2.96, 1, 4, 0, 3.32)
A(dynamic_pcell_1, Substrate, 1.88, -14.66, 0.3, 0.3, 3, 4, 10.44, 3.32)
A(dynamic_pcell_1, Substrate, 24.64, -14.66, 0.3, 0.3, 1, 4, 0, 3.32)
P(dynamic_pcell_1, Substrate, [(-0.83,-6.39),(-0.83,-3.07),(-0.47,-3.07),(-0.47,-6.03),(25.41,-6.03),(25.41,-3.07),(-0.83,-3.07),(-0.83,-2.71),(25.77,-2.71),(25.77,-6.39)],
  [(-0.83,-9.71),(-0.83,-6.39),(-0.47,-6.39),(-0.47,-9.35),(25.41,-9.35),(25.41,-6.39),(-0.83,-6.39),(-0.83,-6.03),(25.77,-6.03),(25.77,-9.71)],
  [(-0.83,-13.03),(-0.83,-9.71),(-0.47,-9.71),(-0.47,-12.67),(25.41,-12.67),(25.41,-9.71),(-0.83,-9.71),(-0.83,-9.35),(25.77,-9.35),(25.77,-13.03)],
  [(-0.83,-16.35),(-0.83,-13.03),(-0.47,-13.03),(-0.47,-15.99),(25.41,-15.99),(25.41,-13.03),(-0.83,-13.03),(-0.83,-12.67),(25.77,-12.67),(25.77,-16.35)])
A(dynamic_pcell_1, HeatTrans, 0.37, -14.82, 0.5, 0.62, 1, 4, 0, 3.32)
A(dynamic_pcell_1, HeatTrans, 1.31, -14.82, 0.5, 0.62, 1, 4, 0, 3.32)
A(dynamic_pcell_1, HeatTrans, 2.25, -14.82, 10, 0.62, 1, 4, 0, 3.32)
A(dynamic_pcell_1, HeatTrans, 12.69, -14.82, 10, 0.62, 1, 4, 0, 3.32)
A(dynamic_pcell_1, HeatTrans, 23.13, -14.82, 0.5, 0.62, 1, 4, 0, 3.32)
A(dynamic_pcell_1, HeatTrans, 24.07, -14.82, 0.5, 0.62, 1, 4, 0, 3.32)
dynamic_pcell_1.add(gdstk.Label('VSS', (12.47,-2.89), layer=8, texttype=0))
dynamic_pcell_1.add(gdstk.Label('VSS', (12.47,-6.21), layer=8, texttype=0))
dynamic_pcell_1.add(gdstk.Label('VSS', (12.47,-9.53), layer=8, texttype=0))
dynamic_pcell_1.add(gdstk.Label('VSS', (12.47,-12.85), layer=8, texttype=0))
dynamic_pcell_1.add(gdstk.Label('dummy', (0.62,-4.55), layer=63, texttype=0))
dynamic_pcell_1.add(gdstk.Label('dummy', (1.56,-4.55), layer=63, texttype=0))
dynamic_pcell_1.add(gdstk.Label('P', (7.25,-4.55), layer=63, texttype=0))
dynamic_pcell_1.add(gdstk.Label('Q', (17.69,-4.55), layer=63, texttype=0))
dynamic_pcell_1.add(gdstk.Label('dummy', (23.38,-4.55), layer=63, texttype=0))
dynamic_pcell_1.add(gdstk.Label('dummy', (24.32,-4.55), layer=63, texttype=0))
dynamic_pcell_1.add(gdstk.Label('sub!', (12.47,-6.21), layer=63, texttype=0))
dynamic_pcell_1.add(gdstk.Label('dummy', (0.62,-7.87), layer=63, texttype=0))
dynamic_pcell_1.add(gdstk.Label('dummy', (1.56,-7.87), layer=63, texttype=0))
dynamic_pcell_1.add(gdstk.Label('R', (7.25,-7.87), layer=63, texttype=0))
dynamic_pcell_1.add(gdstk.Label('S', (17.69,-7.87), layer=63, texttype=0))
dynamic_pcell_1.add(gdstk.Label('dummy', (23.38,-7.87), layer=63, texttype=0))
dynamic_pcell_1.add(gdstk.Label('dummy', (24.32,-7.87), layer=63, texttype=0))
dynamic_pcell_1.add(gdstk.Label('sub!', (12.47,-9.53), layer=63, texttype=0))
dynamic_pcell_1.add(gdstk.Label('dummy', (0.62,-11.19), layer=63, texttype=0))
dynamic_pcell_1.add(gdstk.Label('dummy', (1.56,-11.19), layer=63, texttype=0))
dynamic_pcell_1.add(gdstk.Label('S', (7.25,-11.19), layer=63, texttype=0))
dynamic_pcell_1.add(gdstk.Label('R', (17.69,-11.19), layer=63, texttype=0))
dynamic_pcell_1.add(gdstk.Label('dummy', (23.38,-11.19), layer=63, texttype=0))
dynamic_pcell_1.add(gdstk.Label('dummy', (24.32,-11.19), layer=63, texttype=0))
dynamic_pcell_1.add(gdstk.Label('sub!', (12.47,-12.85), layer=63, texttype=0))
dynamic_pcell_1.add(gdstk.Label('dummy', (0.62,-14.51), layer=63, texttype=0))
dynamic_pcell_1.add(gdstk.Label('dummy', (1.56,-14.51), layer=63, texttype=0))
dynamic_pcell_1.add(gdstk.Label('Q', (7.25,-14.51), layer=63, texttype=0))
dynamic_pcell_1.add(gdstk.Label('P', (17.69,-14.51), layer=63, texttype=0))
dynamic_pcell_1.add(gdstk.Label('dummy', (23.38,-14.51), layer=63, texttype=0))
dynamic_pcell_1.add(gdstk.Label('dummy', (24.32,-14.51), layer=63, texttype=0))
dynamic_pcell_1.add(gdstk.Label('sub!', (12.47,-16.17), layer=63, texttype=0))
dynamic_pcell_1.add(gdstk.Label('DRN_NET_PQ_GATE_Q', (2.03,-5.02), layer=10, texttype=0))
dynamic_pcell_1.add(gdstk.Label('DRN_NET_PQ_GATE_Q', (22.91,-5.02), layer=10, texttype=0))
dynamic_pcell_1.add(gdstk.Label('DRN_NET_PQ_GATE_Q', (17.69,-5.24), layer=10, texttype=0))
dynamic_pcell_1.add(gdstk.Label('P_GATE', (7.25,-5.47), layer=10, texttype=0))
dynamic_pcell_1.add(gdstk.Label('DRN_NET_RS_GATE_R', (2.03,-8.34), layer=10, texttype=0))
dynamic_pcell_1.add(gdstk.Label('DRN_NET_RS_GATE_R', (7.25,-8.56), layer=10, texttype=0))
dynamic_pcell_1.add(gdstk.Label('DRN_NET_RS_GATE_R', (22.91,-8.34), layer=10, texttype=0))
dynamic_pcell_1.add(gdstk.Label('S_GATE', (17.69,-8.79), layer=10, texttype=0))
dynamic_pcell_1.add(gdstk.Label('DRN_NET_RS_GATE_R', (2.03,-11.66), layer=10, texttype=0))
dynamic_pcell_1.add(gdstk.Label('DRN_NET_RS_GATE_R', (22.91,-11.66), layer=10, texttype=0))
dynamic_pcell_1.add(gdstk.Label('DRN_NET_RS_GATE_R', (17.69,-11.88), layer=10, texttype=0))
dynamic_pcell_1.add(gdstk.Label('S_GATE', (7.25,-12.11), layer=10, texttype=0))
dynamic_pcell_1.add(gdstk.Label('SRC_NET_PQRS', (12.47,-14.98), layer=10, texttype=0))
dynamic_pcell_1.add(gdstk.Label('SRC_NET_PQRS', (12.47,-14.98), layer=10, texttype=0))
dynamic_pcell_1.add(gdstk.Label('DRN_NET_PQ_GATE_Q', (2.03,-15.21), layer=10, texttype=0))
dynamic_pcell_1.add(gdstk.Label('DRN_NET_PQ_GATE_Q', (7.25,-15.43), layer=10, texttype=0))
dynamic_pcell_1.add(gdstk.Label('DRN_NET_PQ_GATE_Q', (22.91,-15.21), layer=10, texttype=0))
dynamic_pcell_1.add(gdstk.Label('P_GATE', (17.69,-15.66), layer=10, texttype=0))
dynamic_pcell_1.add(gdstk.Label('SRC_NET_PQRS', (12.47,-6.21), layer=10, texttype=0))
dynamic_pcell_1.add(gdstk.Label('SRC_NET_PQRS', (12.47,-6.21), layer=10, texttype=0))
dynamic_pcell_1.add(gdstk.Label('SRC_NET_PQRS', (12.47,-9.53), layer=10, texttype=0))
dynamic_pcell_1.add(gdstk.Label('DRN_NET_RS_GATE_R', (2.03,-9.53), layer=10, texttype=0))
dynamic_pcell_1.add(gdstk.Label('SRC_NET_PQRS', (12.47,-9.53), layer=10, texttype=0))
dynamic_pcell_1.add(gdstk.Label('DRN_NET_RS_GATE_R', (22.91,-9.53), layer=10, texttype=0))
dynamic_pcell_1.add(gdstk.Label('SRC_NET_PQRS', (12.47,-12.85), layer=10, texttype=0))
dynamic_pcell_1.add(gdstk.Label('SRC_NET_PQRS', (12.47,-12.85), layer=10, texttype=0))
dynamic_pcell_1.add(gdstk.Label('DRN_NET_PQ_GATE_Q', (-1.16,-10.73), layer=10, texttype=0))
dynamic_pcell_1.add(gdstk.Label('P_GATE', (-1.62,-11.19), layer=10, texttype=0))
dynamic_pcell_1.add(gdstk.Label('DRN_NET_RS_GATE_R', (-2.08,-10.5), layer=10, texttype=0))
dynamic_pcell_1.add(gdstk.Label('S_GATE', (-2.54,-10.96), layer=10, texttype=0))
dynamic_pcell_1.add(gdstk.Label('DRN_NET_PQ_GATE_Q', (12.47,-5.52), layer=30, texttype=0))
dynamic_pcell_1.add(gdstk.Label('P_GATE', (7.25,-5.98), layer=30, texttype=0))
dynamic_pcell_1.add(gdstk.Label('DRN_NET_RS_GATE_R', (12.47,-8.84), layer=30, texttype=0))
dynamic_pcell_1.add(gdstk.Label('S_GATE', (17.69,-9.3), layer=30, texttype=0))
dynamic_pcell_1.add(gdstk.Label('DRN_NET_RS_GATE_R', (12.47,-12.16), layer=30, texttype=0))
dynamic_pcell_1.add(gdstk.Label('S_GATE', (7.25,-12.62), layer=30, texttype=0))
dynamic_pcell_1.add(gdstk.Label('DRN_NET_PQ_GATE_Q', (12.47,-15.94), layer=30, texttype=0))
dynamic_pcell_1.add(gdstk.Label('P_GATE', (17.69,-16.4), layer=30, texttype=0))
dynamic_pcell_1.add(gdstk.Label('DRN_NET_PQ_GATE_Q', (10.875,-5.52), layer=30, texttype=0))
dynamic_pcell_1.add(gdstk.Label('DRN_NET_PQ_GATE_Q', (10.875,-15.94), layer=30, texttype=0))
dynamic_pcell_1.add(gdstk.Label('P_GATE', (4.265,-5.98), layer=30, texttype=0))
dynamic_pcell_1.add(gdstk.Label('P_GATE', (9.485,-16.4), layer=30, texttype=0))
dynamic_pcell_1.add(gdstk.Label('DRN_NET_RS_GATE_R', (10.405,-8.84), layer=30, texttype=0))
dynamic_pcell_1.add(gdstk.Label('DRN_NET_RS_GATE_R', (10.415,-12.16), layer=30, texttype=0))
dynamic_pcell_1.add(gdstk.Label('S_GATE', (9.025,-9.3), layer=30, texttype=0))
dynamic_pcell_1.add(gdstk.Label('S_GATE', (3.805,-12.62), layer=30, texttype=0))
dynamic_pcell_1.add(gdstk.Label('nmos', (0.62,-4.55), layer=51, texttype=0))
dynamic_pcell_1.add(gdstk.Label('nmos', (1.56,-4.55), layer=51, texttype=0))
dynamic_pcell_1.add(gdstk.Label('nmos', (7.25,-4.55), layer=51, texttype=0))
dynamic_pcell_1.add(gdstk.Label('nmos', (17.69,-4.55), layer=51, texttype=0))
dynamic_pcell_1.add(gdstk.Label('nmos', (23.38,-4.55), layer=51, texttype=0))
dynamic_pcell_1.add(gdstk.Label('nmos', (24.32,-4.55), layer=51, texttype=0))
dynamic_pcell_1.add(gdstk.Label('nmos', (0.62,-7.87), layer=51, texttype=0))
dynamic_pcell_1.add(gdstk.Label('nmos', (1.56,-7.87), layer=51, texttype=0))
dynamic_pcell_1.add(gdstk.Label('nmos', (7.25,-7.87), layer=51, texttype=0))
dynamic_pcell_1.add(gdstk.Label('nmos', (17.69,-7.87), layer=51, texttype=0))
dynamic_pcell_1.add(gdstk.Label('nmos', (23.38,-7.87), layer=51, texttype=0))
dynamic_pcell_1.add(gdstk.Label('nmos', (24.32,-7.87), layer=51, texttype=0))
dynamic_pcell_1.add(gdstk.Label('nmos', (0.62,-11.19), layer=51, texttype=0))
dynamic_pcell_1.add(gdstk.Label('nmos', (1.56,-11.19), layer=51, texttype=0))
dynamic_pcell_1.add(gdstk.Label('nmos', (7.25,-11.19), layer=51, texttype=0))
dynamic_pcell_1.add(gdstk.Label('nmos', (17.69,-11.19), layer=51, texttype=0))
dynamic_pcell_1.add(gdstk.Label('nmos', (23.38,-11.19), layer=51, texttype=0))
dynamic_pcell_1.add(gdstk.Label('nmos', (24.32,-11.19), layer=51, texttype=0))
dynamic_pcell_1.add(gdstk.Label('nmos', (0.62,-14.51), layer=51, texttype=0))
dynamic_pcell_1.add(gdstk.Label('nmos', (1.56,-14.51), layer=51, texttype=0))
dynamic_pcell_1.add(gdstk.Label('nmos', (7.25,-14.51), layer=51, texttype=0))
dynamic_pcell_1.add(gdstk.Label('nmos', (17.69,-14.51), layer=51, texttype=0))
dynamic_pcell_1.add(gdstk.Label('nmos', (23.38,-14.51), layer=51, texttype=0))
dynamic_pcell_1.add(gdstk.Label('nmos', (24.32,-14.51), layer=51, texttype=0))

lib.write_gds('dynamic_pcell_1.gds')
